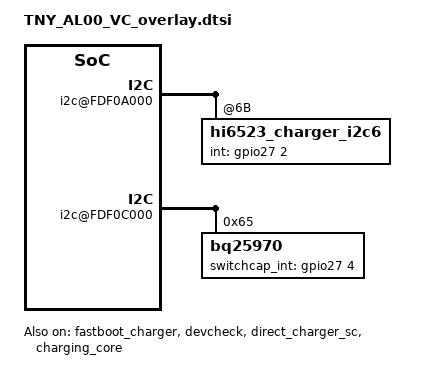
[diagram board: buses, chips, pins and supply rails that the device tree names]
/**
 * Copyright (C) 2014 Hisilicon Ltd.
 *
 *  This program is free software; you can redistribute it and/or modify
 *  it under the terms of the GNU General Public License version 2 as
 *  publishhed by the Free Software Foundation.
 */

/include/ "TNY_AL00_VA_overlay.dtsi"

/ {
    board_id = <8913>;
};

	&rootparam{
		hisi,boardid = <8 9 1 3>;
		hisi,boardname = "TNY_AL00_VC";
		hisi,modem_id = <0x37600000>;
	};
	&fastboot_charger {
		hw_charger_type = <4>;
		status = "ok";
	};
	&devcheck {
		charge_loadswitch = <0>;
		status = "ok";
	};
	&direct_charger {
		status = "disabled";
	};
	&direct_charger_sc {
		use_5A = <0>;
		use_8A = <1>;
		dc_volt_ratio = <2>;
		max_adaptor_vset = <11000>;
		vol_err_th = <300>;
		init_delt_vset = <300>;
		vstep = <20>;
		adaptor_antifake_check_enable = <1>;
		adaptor_antifake_key_index = <2>;
		volt_para =
			"4000", "6200", "4200",
			"4150", "6200", "4200",
			"4300", "4200", "2600",
			"4340", "2600", "1500",
			"4370", "1500", "1200";
		volt_para1 =
			"4200", "8000", "6200",
			"4300", "6200", "4400",
			"4330", "4400", "3200",
			"4340", "3200", "1500",
			"4370", "1500", "1200";
		bat_para =
			"atl", "10", "20", "volt_para",
			"atl", "20", "45", "volt_para1";
		compensate_r = <0>;
		cc_cable_detect_enable = <1>;
		full_path_res_max = <250>;
		scp_work_on_charger = <1>;
		standard_cable_full_path_res_max = <250>;
		max_current_for_none_standard_cable = <6000>;
		first_cc_stage_timer_in_min = <8>;
		stage_need_to_jump = "1";
		temp_para =
			"-32767", "10", "0",
			"10", "20", "6200",
			"20", "45", "8000",
			"45", "32767", "0";
		status = "ok";
	};
	&charging_core {
		status = "ok";
		iterm = <136>;
		iin_usb = <470>;
		ichg_usb = <500>;
		ichg_fcp = <3400>;
		iin_fcp = <2000>;
		ichg_ac = <2100>;
		iin_ac = <2000>;
		inductance_para =
			"-32767", "15", "2000", "0",
			"15", "32767", "2000", "0";
	};
	&desaylg_3400_snYL_4400_25 {
			temp_para =
						"-32767","0","-1","0","4100","0",
						"0","5","-1","340","4400","0",
						"5","10","-1","1020","4400","3",
						"10","20","-1","2380","4400","3",
						"20","45","-1","-1","4400","3",
						"45","50","-1","1190","4100","3",
						"50","32767","-1","0","4100","0";
			segment_para =
						"-32767","4150","3400","4208","50",
						"4150","4450","3400","4400","0";
	};
	&sunwodaatl_3400_snIA_4400_25 {
			temp_para =
						"-32767","0","-1","0","4100","0",
						"0","5","-1","340","4400","0",
						"5","10","-1","1020","4400","3",
						"10","20","-1","2380","4400","3",
						"20","45","-1","-1","4400","3",
						"45","50","-1","1190","4100","3",
						"50","32767","-1","0","4100","0";
			segment_para =
						"-32767","4150","3400","4208","50",
						"4150","4450","3400","4400","0";
	};
	&desayatl_3400_snYT_4400_25 {
			temp_para =
						"-32767","0","-1","0","4100","0",
						"0","5","-1","340","4400","0",
						"5","10","-1","1020","4400","3",
						"10","20","-1","2380","4400","3",
						"20","45","-1","-1","4400","3",
						"45","50","-1","1190","4100","3",
						"50","32767","-1","0","4100","0";
			segment_para =
						"-32767","4150","3400","4208","50",
						"4150","4450","3400","4400","0";
	};
	&sunwodaatl_3400_snIT_4400_25 {
			temp_para =
						"-32767","0","-1","0","4100","0",
						"0","5","-1","340","4400","0",
						"5","10","-1","1020","4400","3",
						"10","20","-1","2380","4400","3",
						"20","45","-1","-1","4400","3",
						"45","50","-1","1190","4100","3",
						"50","32767","-1","0","4100","0";
			segment_para =
						"-32767","4150","3400","4208","50",
						"4150","4450","3400","4400","0";
	};
	&amba {
		i2c@FDF0A000 {
			status = "ok";
			hi6526_charger_i2c6@6B{
				status = "disabled";
			};
			hi6523_charger_i2c6@6B{
				status = "ok";
				fcp_support = <1>;
				scp_support = <1>;
				vclamp = <45>;
				bat_comp = <15>;
				gpio_int = <&gpio27 2 0>;
				ico_current_mode = <0>;
			};
		};
		i2c@FDF0C000 {
			status = "ok";
			bq25970: bq25970@65 {
				compatible = "bq25970";
				switchcap_int = <&gpio27 4 0>;
				switching_frequency = <675>;
				reg = <0x65>;
				status = "ok";
			};
		};
	};
